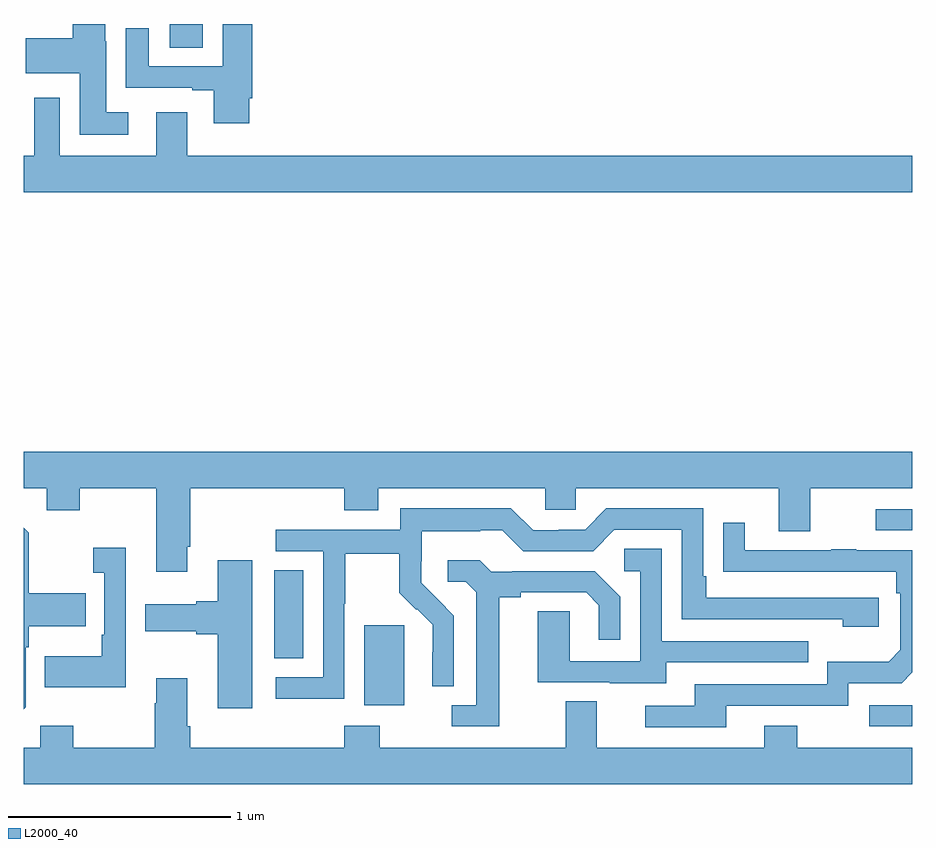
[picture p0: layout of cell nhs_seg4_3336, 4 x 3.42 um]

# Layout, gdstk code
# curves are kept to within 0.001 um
import gdstk
lib = gdstk.Library(unit=1e-6, precision=1e-09)
def R(c, l, rs):  # rectangles x0, y0, x1, y1
    for r in rs: c.add(gdstk.rectangle(r[:2], r[2:], *l))
def P(c, l, *ps):  # polygons
    for p in ps: c.add(gdstk.Polygon(p, *l))
L2000_40 = (2000, 40)

nhs_seg4_3336 = lib.new_cell('nhs_seg4_3336')
R(nhs_seg4_3336, L2000_40, [(290.805,803.739,291,803.835), (288.533,803.834,288.712,804.195), (288.128,804.046,288.259,804.443), (290.835,804.621,291,804.717), (287.657,806.794,287.806,806.9)])
P(nhs_seg4_3336, L2000_40, [(287.47,806.503),(287.371,806.503),(287.371,806.822),(287.367,806.822),(287.367,806.9),(287.222,806.9),(287.222,806.836),(287.01,806.836),(287.01,806.678),(287.252,806.678),(287.252,806.402),(287.47,806.402)],
  [(288.016,806.566),(288.029,806.566),(288.029,806.9),(287.897,806.9),(287.897,806.709),(287.563,806.709),(287.563,806.881),(287.459,806.881),(287.459,806.613),(287.759,806.613),(287.759,806.601),(287.855,806.601),(287.855,806.454),(288.016,806.454)],
  [(291,806.308),(287.737,806.308),(287.737,806.503),(287.597,806.503),(287.597,806.308),(287.163,806.308),(287.163,806.569),(287.047,806.569),(287.047,806.308),(287,806.308),(287,806.144),(291,806.144)],
  [(287,804.812),(287.105,804.812),(287.105,804.713),(287.253,804.713),(287.253,804.812),(287.597,804.812),(287.597,804.435),(287.737,804.435),(287.737,804.547),(287.75,804.547),(287.75,804.812),(288.443,804.812),(288.443,804.713),(288.595,804.713),(288.595,804.812),(289.347,804.812),(289.347,804.714),(289.485,804.714),(289.485,804.812),(290.399,804.812),(290.399,804.618),(290.539,804.618),(290.539,804.812),(291,804.812),(291,804.976),(287,804.976)],
  [(288.444,804.292),(288.447,804.292),(288.447,804.516),(288.691,804.516),(288.691,804.341),(288.768,804.264),(288.771,804.267),(288.842,804.197),(288.842,804.074),(288.84,804.074),(288.84,803.92),(288.936,803.92),(288.936,804.238),(288.79,804.386),(288.79,804.483),(288.792,804.483),(288.792,804.617),(289.055,804.617),(289.055,804.621),(289.155,804.621),(289.248,804.528),(289.563,804.528),(289.659,804.624),(289.962,804.624),(289.962,804.222),(290.687,804.222),(290.687,804.188),(290.848,804.188),(290.848,804.318),(290.071,804.318),(290.071,804.415),(290.058,804.415),(290.058,804.72),(289.623,804.72),(289.527,804.624),(289.409,804.624),(289.409,804.621),(289.293,804.621),(289.193,804.721),(288.696,804.721),(288.696,804.624),(288.135,804.624),(288.135,804.528),(288.348,804.528),(288.348,803.961),(288.135,803.961),(288.135,803.863),(288.444,803.863)],
  [(290.161,803.832),(290.712,803.832),(290.712,803.934),(290.952,803.934),(291,803.982),(291,804.531),(290.747,804.531),(290.747,804.536),(290.635,804.536),(290.635,804.531),(290.245,804.531),(290.245,804.655),(290.149,804.655),(290.149,804.436),(290.926,804.435),(290.926,804.338),(290.946,804.338),(290.946,804.084),(290.893,804.031),(290.616,804.031),(290.616,803.928),(290.021,803.928),(290.021,803.832),(289.797,803.832),(289.797,803.736),(290.161,803.736)],
  [(287.01,803.826),(287.01,804.095),(287.023,804.095),(287.023,804.191),(287.279,804.191),(287.279,804.339),(287.023,804.339),(287.023,804.611),(287,804.634),(287,803.816)],
  [(287.46,804.544),(287.313,804.544),(287.313,804.431),(287.364,804.431),(287.364,804.151),(287.352,804.151),(287.352,804.055),(287.095,804.055),(287.095,803.915),(287.46,803.915)],
  [(289.891,804.027),(290.531,804.027),(290.531,804.123),(289.872,804.123),(289.872,804.539),(289.704,804.539),(289.704,804.438),(289.776,804.438),(289.776,804.033),(289.458,804.033),(289.458,804.257),(289.313,804.257),(289.313,803.937),(289.637,803.937),(289.637,803.933),(289.891,803.933)],
  [(289.141,804.32),(289.237,804.32),(289.237,804.342),(289.532,804.342),(289.589,804.285),(289.589,804.129),(289.686,804.129),(289.686,804.322),(289.57,804.438),(289.198,804.438),(289.198,804.435),(289.104,804.435),(289.052,804.487),(288.909,804.487),(288.909,804.39),(288.99,804.39),(289.037,804.343),(289.037,803.835),(288.927,803.835),(288.927,803.739),(289.141,803.739)],
  [(288.028,804.487),(287.873,804.487),(287.873,804.302),(287.777,804.302),(287.777,804.289),(287.547,804.289),(287.547,804.167),(287.777,804.167),(287.777,804.155),(287.873,804.155),(287.873,803.82),(288.028,803.82)],
  [(287.597,803.956),(287.597,803.843),(287.59,803.843),(287.59,803.644),(287.223,803.644),(287.223,803.743),(287.076,803.743),(287.076,803.644),(287,803.644),(287,803.48),(291,803.48),(291,803.644),(290.481,803.644),(290.481,803.743),(290.333,803.743),(290.333,803.644),(289.579,803.644),(289.579,803.852),(289.439,803.852),(289.439,803.644),(288.603,803.644),(288.603,803.743),(288.443,803.743),(288.443,803.644),(287.75,803.644),(287.75,803.74),(287.737,803.74),(287.737,803.956)])

lib.write_gds('nhs_seg4_3336.gds')
